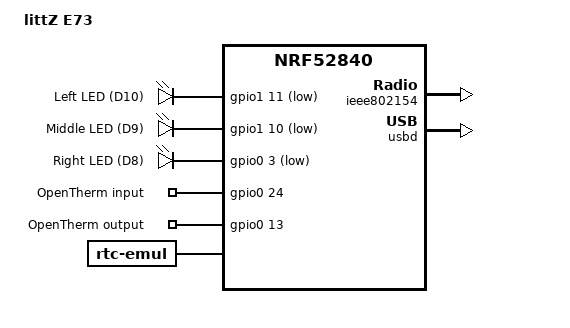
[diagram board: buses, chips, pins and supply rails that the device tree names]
/dts-v1/;
#include <nordic/nrf52840_qiaa.dtsi>
#include "littz_e73-pinctrl.dtsi"

/ {
	model = "littZ E73";
	compatible = "ACME,littz-e73";

	chosen {
		zephyr,console = &usb_cdc_acm_uart;
		zephyr,shell-uart = &usb_cdc_acm_uart;
		zephyr,uart-mcumgr = &usb_cdc_acm_uart;
		zephyr,bt-mon-uart = &usb_cdc_acm_uart;
		zephyr,bt-c2h-uart = &usb_cdc_acm_uart;
		zephyr,sram = &sram0;
		zephyr,flash = &flash0;
		zephyr,code-partition = &slot0_partition;
		zephyr,ieee802154 = &ieee802154;
		zephyr,nrf-uicr = &uicr;
		zephyr,nrf-gpiote = &gpiote;
	};

	leds {
		compatible = "gpio-leds";
		led0: led_0 {
			gpios = <&gpio1 11 GPIO_ACTIVE_LOW>;
			label = "Left LED (D10)";
		};
		led1: led_1 {
			gpios = <&gpio1 10 GPIO_ACTIVE_LOW>;
			label = "Middle LED (D9)";
		};
		led2: led_2 {
			gpios = <&gpio0 3 GPIO_ACTIVE_LOW>;
			label = "Right LED (D8)";
		};
	};

	gpio_keys {
		compatible = "gpio-keys";
		opentherm_in: opentherm_in {
			gpios = <&gpio0 24 GPIO_ACTIVE_HIGH>;
			label = "OpenTherm input";
		};
		opentherm_out: opentherm_out {
			gpios = <&gpio0 13 GPIO_ACTIVE_HIGH>;
			label = "OpenTherm output";
		};
	};

	rtc: rtc-emul {
		compatible = "zephyr,rtc-emul";
	};

	aliases {
		led0 = &led0;
		led1 = &led1;
		led2 = &led2;
		watchdog0 = &wdt0;
		otin = &opentherm_in;
		otout = &opentherm_out;
		rtc = &rtc;
	};
};

&uicr {
	// gpio-as-nreset;
};

&flash0 {
	partitions {
		compatible = "fixed-partitions";
		#address-cells = <1>;
		#size-cells = <1>;

		boot_partition: partition@0 {
			label = "mcuboot";
			reg = <0x00000000 DT_SIZE_K(48)>;
		};

		slot0_partition: partition@c000 {
			label = "image-0";
			reg = <0x0000c000 DT_SIZE_K(472)>;
		};

		slot1_partition: partition@82000 {
			label = "image-1";
			reg = <0x00082000 DT_SIZE_K(472)>;
		};

		storage_partition: partition@f8000 {
			label = "storage";
			reg = <0x000f8000 DT_SIZE_K(32)>;
		};
	};
};

&uart0 {
	status = "disabled";
};

&gpiote {
	status = "okay";
};

&gpio0 {
	status = "okay";
};

&gpio1 {
	status = "okay";
};

&qspi {
	status = "disabled";
};

&adc {
	status = "disabled";
};

&ieee802154 {
	status = "okay";
};

zephyr_udc0: &usbd {
	compatible = "nordic,nrf-usbd";
	status = "okay";

	usb_cdc_acm_uart: cdc-acm-uart {
		compatible = "zephyr,cdc-acm-uart";
	};
};
